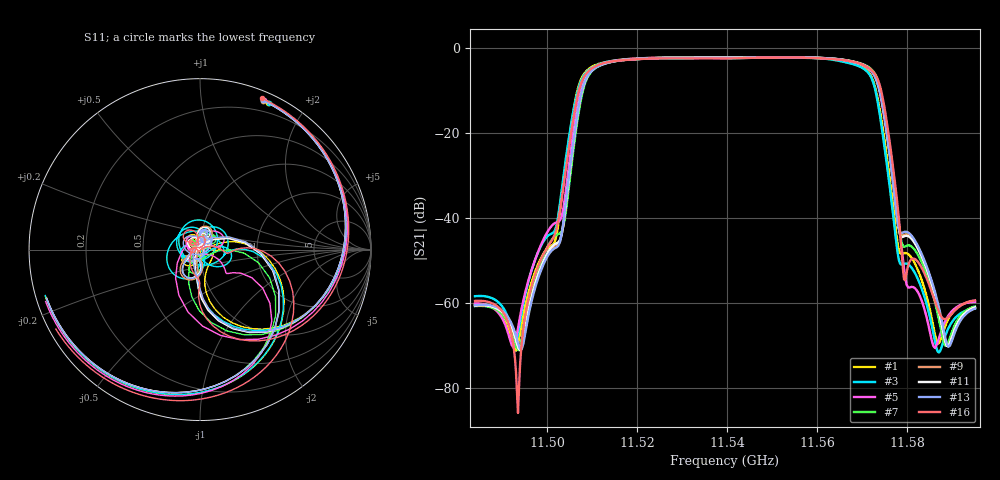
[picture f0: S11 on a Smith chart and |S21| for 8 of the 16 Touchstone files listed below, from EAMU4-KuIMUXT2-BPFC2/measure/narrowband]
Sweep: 11.484 GHz to 11.595 GHz
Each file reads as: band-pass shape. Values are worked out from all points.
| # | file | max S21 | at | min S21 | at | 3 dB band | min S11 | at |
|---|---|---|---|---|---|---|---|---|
| 1 | 16.s2p | -2.17 dB | 11.5542 GHz | -71.2 dB | 11.4931 GHz | 11.5091 GHz-11.571 GHz | -54.7 dB | 11.5542 GHz |
| 2 | 17.s2p | -2.21 dB | 11.5535 GHz | -70.7 dB | 11.4931 GHz | 11.5091 GHz-11.571 GHz | -49.7 dB | 11.5442 GHz |
| 3 | 18.s2p | -2.19 dB | 11.5506 GHz | -71.6 dB | 11.587 GHz | 11.5093 GHz-11.5706 GHz | -48.1 dB | 11.5606 GHz |
| 4 | 19.s2p | -2.30 dB | 11.5295 GHz | -86.9 dB | 11.5815 GHz | 11.5093 GHz-11.5708 GHz | -28.5 dB | 11.5089 GHz |
| 5 | 20.s2p | -2.17 dB | 11.5547 GHz | -70.5 dB | 11.5861 GHz | 11.5099 GHz-11.5717 GHz | -42.2 dB | 11.534 GHz |
| 6 | 21.s2p | -2.17 dB | 11.5558 GHz | -71.3 dB | 11.4936 GHz | 11.5103 GHz-11.5721 GHz | -39.5 dB | 11.5106 GHz |
| 7 | 22.s2p | -2.18 dB | 11.5554 GHz | -71.1 dB | 11.4936 GHz | 11.5103 GHz-11.5721 GHz | -43.0 dB | 11.5569 GHz |
| 8 | 23.s2p | -2.18 dB | 11.5554 GHz | -70.8 dB | 11.494 GHz | 11.5103 GHz-11.5721 GHz | -55.6 dB | 11.5562 GHz |
| 9 | 24.s2p | -2.19 dB | 11.5554 GHz | -71.1 dB | 11.494 GHz | 11.5103 GHz-11.5717 GHz | -38.8 dB | 11.5114 GHz |
| 10 | 25.s2p | -2.19 dB | 11.5554 GHz | -71.1 dB | 11.494 GHz | 11.5103 GHz-11.5717 GHz | -38.9 dB | 11.511 GHz |
| 11 | 26.s2p | -2.19 dB | 11.5554 GHz | -71.1 dB | 11.494 GHz | 11.5103 GHz-11.5717 GHz | -52.3 dB | 11.5365 GHz |
| 12 | 27.s2p | -2.19 dB | 11.5554 GHz | -71.1 dB | 11.494 GHz | 11.5103 GHz-11.5717 GHz | -36.8 dB | 11.5365 GHz |
| 13 | 28.s2p | -2.19 dB | 11.5554 GHz | -70.9 dB | 11.4944 GHz | 11.5103 GHz-11.5717 GHz | -31.6 dB | 11.5369 GHz |
| 14 | 29.s2p | -2.20 dB | 11.5554 GHz | -71.0 dB | 11.4944 GHz | 11.5103 GHz-11.5717 GHz | -35.0 dB | 11.5365 GHz |
| 15 | 30.s2p | -2.20 dB | 11.5554 GHz | -71.0 dB | 11.4944 GHz | 11.5103 GHz-11.5717 GHz | -37.3 dB | 11.5365 GHz |
| 16 | 31.s2p | -2.24 dB | 11.5553 GHz | -85.9 dB | 11.4935 GHz | 11.5095 GHz-11.5719 GHz | -47.6 dB | 11.5681 GHz |
